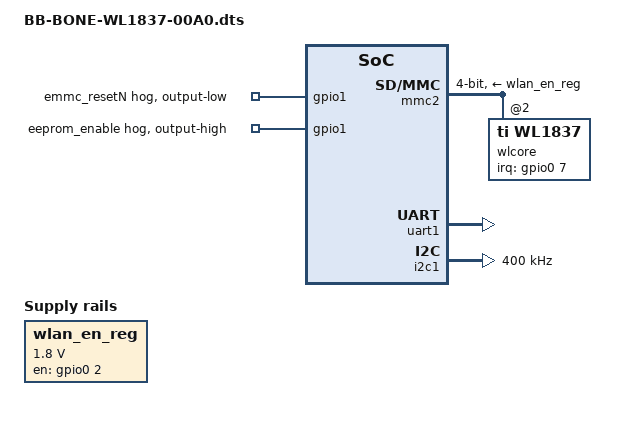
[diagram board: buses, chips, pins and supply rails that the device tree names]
/*
 * Copyright (C) 2012 Texas Instruments Incorporated - http://www.ti.com/
 *
 * This program is free software; you can redistribute it and/or modify
 * it under the terms of the GNU General Public License version 2 as
 * published by the Free Software Foundation.
 */
/dts-v1/;
/plugin/;

#include <dt-bindings/board/am335x-bbw-bbb-base.h>
#include <dt-bindings/gpio/gpio.h>
#include <dt-bindings/pinctrl/am33xx.h>

/ {
	compatible = "ti,beaglebone", "ti,beaglebone-black";

	/* identification */
	part-number = "BB-BONE-WL1837";
	version = "00A0";

	/* state the resources this cape uses */
	exclusive-use =
		/* the pin header uses */
		"P8.25",	/* sdio: data0 */
		"P8.24",	/* sdio: data1 */
		"P8.5",		/* sdio: data2 */
		"P8.6",		/* sdio: data3 */
		"P8.21",	/* sdio: clk */
		"P8.20",	/* sdio: cmd */
		"P9.19",	/* uart1: rtsn */
		"P9.20",	/* uart1: ctsn */
		"P9.26",	/* uart1: rxd */
		"P9.24",	/* uart1: txd */
		"P9.17",	/* i2c1 */
		"P9.18",	/* i2c1 */

		"gpio0_2",	/* WL_EN */
		"gpio0_7",	/* WL_IRQ */
		"gpio0_3",	/* BT_EN */
		"gpio1_29",	/* BUF_ENABLE */
		"gpio2_2", 	/* Audio_sync */
		"gpio1_20",	/* EMMC ResetN */
		"gpio1_16",	/* EEPROM Enable */

		/* the hardware ip uses */
		"mmc2",
		"uart1",
		"i2c1";

	fragment@0 {
		target = <&am33xx_pinmux>;
		__overlay__ {

		 	bt_pins_default: pinmux_bt_pins_default {
		 		pinctrl-single,pins = <
					BONE_P9_21 (PIN_OUTPUT_PULLUP   | MUX_MODE7) /* gpio0_3 BT_EN*/
				>;
			};

		 	bt_pins_sleep: pinmux_bt_pins_sleep {
		 		pinctrl-single,pins = <
					BONE_P9_21 (PIN_OUTPUT_PULLDOWN   | MUX_MODE7) /* gpio0_3 BT_EN*/
				>;
			};

			bb_mmc2_pins: pinmux_bb_mmc2_pins {
		 		pinctrl-single,pins = <
					BONE_P8_21 (PIN_INPUT_PULLUP | MUX_MODE2) /* gpmc_csn1.mmc1_clk */
		 			BONE_P8_20 (PIN_INPUT_PULLUP | MUX_MODE2) /* gpmc_csn2.mmc1_cmd */
					BONE_P8_25 (PIN_INPUT_PULLUP | MUX_MODE1) /* gpmc_ad0.mmc1_dat0 */
					BONE_P8_24 (PIN_INPUT_PULLUP | MUX_MODE1) /* gpmc_ad1.mmc1_dat1 */
					BONE_P8_05 (PIN_INPUT_PULLUP | MUX_MODE1) /* gpmc_ad2.mmc1_dat2 */
					BONE_P8_06 (PIN_INPUT_PULLUP | MUX_MODE1) /* gpmc_ad3.mmc1_dat3 */
				>;
			};

			bb_mmc2_pins_sleep: pinmux_bb_mmc2_pins_sleep {
				pinctrl-single,pins = <
					BONE_P8_21 (PIN_INPUT_PULLDOWN | MUX_MODE7) /* gpmc_csn1.mmc1_clk */
					BONE_P8_20 (PIN_INPUT_PULLDOWN | MUX_MODE7) /* gpmc_csn2.mmc1_cmd */
					BONE_P8_25 (PIN_INPUT_PULLDOWN | MUX_MODE7) /* gpmc_ad0.mmc1_dat0 */
					BONE_P8_24 (PIN_INPUT_PULLDOWN | MUX_MODE7) /* gpmc_ad1.mmc1_dat1 */
					BONE_P8_05 (PIN_INPUT_PULLDOWN | MUX_MODE7) /* gpmc_ad2.mmc1_dat2 */
					BONE_P8_06 (PIN_INPUT_PULLDOWN | MUX_MODE7) /* gpmc_ad3.mmc1_dat3 */
				>;
			};

			/* wl18xx card enable/irq GPIOs. */
			bb_wlan_pins: pinmux_bb_wlan_pins {
				pinctrl-single,pins = <
					BONE_P9_22  (PIN_OUTPUT_PULLUP | MUX_MODE7)  /* gpio0_2 WL_EN */
					BONE_P9_42A (PIN_INPUT_PULLUP | MUX_MODE7)   /* gpio0_7 WL_IRQ */
					BONE_P8_26  (PIN_OUTPUT_PULLUP | MUX_MODE0)  /* gpmc_csn0.gpio1_29 BF_EN*/
					BONE_P8_07  (PIN_OUTPUT_PULLDOWN | MUX_MODE7)/* gpmc_advn_ale.gpio2_2  Audio_sync*/
					BONE_P9_15  (PIN_OUTPUT_PULLUP | MUX_MODE7)  /* EEPROM Enable */
				>;
			};

			/* wl18xx card enable/irq GPIOs. */
			bb_wlan_pins_sleep: pinmux_bb_wlan_pins_sleep {
				pinctrl-single,pins = <
					BONE_P9_22  (PIN_OUTPUT_PULLUP | MUX_MODE7)  /* gpio0_2 WL_EN */
					BONE_P9_42A (PIN_INPUT_PULLUP | MUX_MODE7)   /* gpio0_7 WL_IRQ */
					BONE_P8_26  (PIN_OUTPUT_PULLUP | MUX_MODE0)  /* gpmc_csn0.gpio1_29 BF_EN*/
					BONE_P8_07  (PIN_OUTPUT_PULLDOWN | MUX_MODE7)/* gpmc_advn_ale.gpio2_2  Audio_sync*/
					BONE_P9_15  (PIN_OUTPUT_PULLUP | MUX_MODE7)  /* EEPROM Enable */				
				>;
			};

			bb_uart1_pins_default: pinmux_bb_uart1_pins_default {
				pinctrl-single,pins = <
					BONE_P9_26 ( PIN_INPUT  | MUX_MODE0 ) /* (D16) uart1_rxd.uart1_rxd */
					BONE_P9_24 ( PIN_OUTPUT | MUX_MODE0 ) /* (D15) uart1_txd.uart1_txd */
                                        BONE_P9_20 ( PIN_INPUT  | MUX_MODE0 ) /* (D18) uart1_ctsn.uart1_ctsn */
                                        BONE_P9_20 ( PIN_OUTPUT | MUX_MODE0 ) /* (D17) uart1_rtsn.uart1_rtsn  */
				>;
			};

			bb_uart1_pins_sleep: pinmux_bb_uart1_pins_sleep {
				pinctrl-single,pins = <
					BONE_P9_26 ( PIN_INPUT  | MUX_MODE0 ) /* (D16) uart1_rxd.uart1_rxd */
					BONE_P9_24 ( PIN_OUTPUT | MUX_MODE0 ) /* (D15) uart1_txd.uart1_txd */
                                        BONE_P9_20 ( PIN_INPUT  | MUX_MODE0 ) /* (D18) uart1_ctsn.uart1_ctsn */
                                        BONE_P9_20 ( PIN_OUTPUT | MUX_MODE0 ) /* (D17) uart1_rtsn.uart1_rtsn  */
				>;
			};

			bb_i2c1_pins: pinmux_bb_i2c1_pins {
				pinctrl-single,pins = <
					BONE_P9_17 (PIN_INPUT_PULLUP | MUX_MODE2)	/* i2c1 */
					BONE_P9_18 (PIN_INPUT_PULLUP | MUX_MODE2)	/* i2c1 */
				>;
			};
		};
	};

	fragment@1 {
		target-path="/";
		__overlay__ {
			wlan_en_reg: fixedregulator@1 {
				compatible = "regulator-fixed";
				regulator-name = "wlan-en-regulator";
				regulator-min-microvolt = <1800000>;
				regulator-max-microvolt = <1800000>;

				/* WL_EN */
				gpio = <&gpio0 2 0>;

				/* WLAN card specific delay */
				enable-active-high;
			};
		};
	};

        fragment@2 {
                target-path="/";
                __overlay__ {
 			kim {
				compatible = "kim";
				nshutdown_gpio = <3>; /* Bank0, pin3 */
				dev_name = "/dev/ttyS1";
				flow_cntrl = <1>;
				baud_rate = <3000000>;
			};
		};
	};

        fragment@3 {
                target-path="/";
                __overlay__ {
 			btwilink {
				compatible = "btwilink";
			};
		};	
	};

	fragment@4 {
		target = <&mmc2>;
		__overlay__ {
			status = "okay";
			vmmc-supply = <&wlan_en_reg>;
			bus-width = <4>;
			pinctrl-names = "default", "sleep";
			pinctrl-0 = <&bb_mmc2_pins &bb_wlan_pins>;
			pinctrl-1 = <&bb_mmc2_pins_sleep &bb_wlan_pins_sleep>;
			ti,non-removable;
			ti,needs-special-hs-handling;
			cap-power-off-card;
			keep-power-in-suspend;

			#address-cells = <1>;
			#size-cells = <0>;
			wlcore: wlcore@0 {
				compatible = "ti,wl1837";
				reg = <2>;
				interrupt-parent = <&gpio0>;
				interrupts = <7 1 /* IRQ_TYPE_EDGE_RISING */>;
			};
		};
	};

	fragment@5 {
		target = <&i2c2>;
		__overlay__ {
			status = "disabled";
		};
	};

	fragment@6 {
		target = <&uart1>;
		__overlay__ {
			pinctrl-names = "default", "sleep";
			pinctrl-0 = <&bb_uart1_pins_default &bt_pins_default>;
			pinctrl-1 = <&bb_uart1_pins_sleep &bt_pins_sleep>;
			status = "okay";
		};
	};

	fragment@7 {
		target = <&gpio1>;
		__overlay__ {
			emmc_rst {
				gpio-hog;
				gpio = <20 0>;
				output-low;
				line-name = "emmc_resetN";
			};
			eeprom_en {
				gpio-hog;
				gpio = <16 0>;
				output-high;
				line-name = "eeprom_enable";
			};
		};
	};

	fragment@8 {
		target = <&i2c1>;
		__overlay__ {
			pinctrl-names = "default";
			pinctrl-0 = <&bb_i2c1_pins>;
			status = "okay";
			clock-frequency = <400000>;
		};
	};
};
